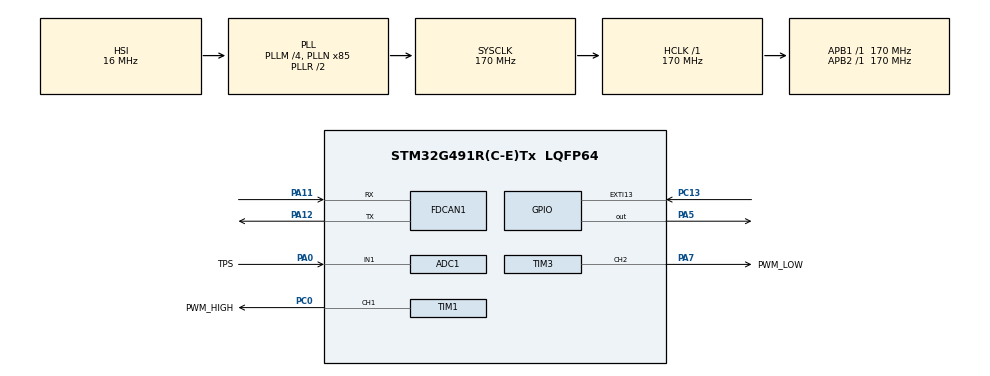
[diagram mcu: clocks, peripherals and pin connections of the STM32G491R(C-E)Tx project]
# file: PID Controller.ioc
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ADC1.Channel-0\#ChannelRegularConversion=ADC_CHANNEL_1
ADC1.ContinuousConvMode=ENABLE
ADC1.DMAContinuousRequests=DISABLE
ADC1.NbrOfConversion=1
ADC1.NbrOfConversionFlag=1
ADC1.OffsetNumber-0\#ChannelRegularConversion=ADC_OFFSET_NONE
ADC1.Rank-0\#ChannelRegularConversion=1
ADC1.SamplingTime-0\#ChannelRegularConversion=ADC_SAMPLETIME_247CYCLES_5
ADC1.master=1
Dma.ADC1.0.Direction=DMA_PERIPH_TO_MEMORY
Dma.ADC1.0.EventEnable=DISABLE
Dma.ADC1.0.Instance=DMA1_Channel1
Dma.ADC1.0.MemDataAlignment=DMA_MDATAALIGN_HALFWORD
Dma.ADC1.0.MemInc=DMA_MINC_ENABLE
Dma.ADC1.0.Mode=DMA_CIRCULAR
Dma.ADC1.0.PeriphDataAlignment=DMA_PDATAALIGN_HALFWORD
Dma.ADC1.0.PeriphInc=DMA_PINC_DISABLE
Dma.ADC1.0.Polarity=HAL_DMAMUX_REQ_GEN_RISING
Dma.ADC1.0.Priority=DMA_PRIORITY_LOW
Dma.ADC1.0.RequestNumber=1
Dma.ADC1.0.SignalID=NONE
Dma.ADC1.0.SyncEnable=DISABLE
Dma.ADC1.0.SyncPolarity=HAL_DMAMUX_SYNC_NO_EVENT
Dma.ADC1.0.SyncRequestNumber=1
Dma.ADC1.0.SyncSignalID=NONE
Dma.Request0=ADC1
FDCAN1.CalculateBaudRateNominal=3541666
FDCAN1.CalculateTimeBitNominal=282
FDCAN1.CalculateTimeQuantumNominal=94.11764705882354
Mcu.Family=STM32G4
Mcu.Name=STM32G491R(C-E)Tx
Mcu.Package=LQFP64
NUCLEO-G491RE.BUTTON=1
NUCLEO-G491RE.LD2=true
NUCLEO-G491RE.VCP=true
NVIC.ADC1_2_IRQn=true\:0\:0\:false\:false\:true\:true\:true\:true
NVIC.DMA1_Channel1_IRQn=true\:0\:0\:false\:false\:true\:false\:true\:true
NVIC.EXTI15_10_IRQn=true\:0\:0\:false\:false\:true\:true\:true\:true
NVIC.FDCAN1_IT0_IRQn=true\:0\:0\:false\:false\:true\:true\:true\:true
NVIC.PriorityGroup=NVIC_PRIORITYGROUP_4
PA0.GPIO_Label=TPS
PA0.Mode=IN1-Single-Ended
PA0.Signal=ADC1_IN1
PA11.Mode=FDCAN_Activate
PA11.Signal=FDCAN1_RX
PA12.Mode=FDCAN_Activate
PA12.Signal=FDCAN1_TX
PA13.GPIO_Label=T_SWDIO
PA13.Signal=SYS_JTMS-SWDIO
PA14.GPIO_Label=T_SWCLK
PA14.Signal=SYS_JTCK-SWCLK
PA2.Signal=LPUART1_TX
PA3.Signal=LPUART1_RX
PA5.Signal=GPIO_Output
PA7.GPIO_Label=PWM_LOW
PA7.Signal=S_TIM3_CH2
PB3.GPIO_Label=T_SWO
PB3.Signal=SYS_JTDO-SWO
PC0.GPIO_Label=PWM_HIGH
PC0.Signal=S_TIM1_CH1
PC13.Signal=GPXTI13
PC14-OSC32_IN.GPIO_Label=RCC_OSC32_IN
PC14-OSC32_IN.Signal=RCC_OSC32_IN
PC15-OSC32_OUT.GPIO_Label=RCC_OSC32_OUT
PC15-OSC32_OUT.Signal=RCC_OSC32_OUT
PF0-OSC_IN.GPIO_Label=RCC_OSC_IN
PF0-OSC_IN.Signal=RCC_OSC_IN
PF1-OSC_OUT.GPIO_Label=RCC_OSC_OUT
PF1-OSC_OUT.Signal=RCC_OSC_OUT
ProjectManager.HeapSize=0x200
ProjectManager.StackSize=0x400
ProjectManager.TargetToolchain=STM32CubeIDE
RCC.ADC12Freq_Value=170000000
RCC.ADC345Freq_Value=170000000
RCC.AHBFreq_Value=170000000
RCC.APB1Freq_Value=170000000
RCC.APB1TimFreq_Value=170000000
RCC.APB2Freq_Value=170000000
RCC.APB2TimFreq_Value=170000000
RCC.CortexFreq_Value=170000000
RCC.EXTERNAL_CLOCK_VALUE=12288000
RCC.HCLKFreq_Value=170000000
RCC.HSE_VALUE=24000000
RCC.HSI48_VALUE=48000000
RCC.HSI_VALUE=16000000
RCC.LSE_VALUE=32768
RCC.PLLM=RCC_PLLM_DIV4
RCC.PLLN=85
RCC.RTCClockSelection=RCC_RTCCLKSOURCE_LSE
RCC.SYSCLKFreq_VALUE=170000000
RCC.SYSCLKSource=RCC_SYSCLKSOURCE_PLLCLK
RCC.USBFreq_Value=48000000
RCC.VCOOutputFreq_Value=340000000
SH.S_TIM1_CH1.0=TIM1_CH1,PWM Generation1 CH1
SH.S_TIM3_CH2.0=TIM3_CH2,PWM Generation2 CH2
TIM1.AutoReloadPreload=TIM_AUTORELOAD_PRELOAD_ENABLE
TIM1.Channel-PWM\ Generation1\ CH1=TIM_CHANNEL_1
TIM1.CounterMode=TIM_COUNTERMODE_UP
TIM1.PeriodNoDither=200-1
TIM1.Prescaler=170-1
TIM2.Prescaler=169
TIM3.AutoReloadPreload=TIM_AUTORELOAD_PRELOAD_ENABLE
TIM3.Channel-PWM\ Generation2\ CH2=TIM_CHANNEL_2
TIM3.PeriodNoDither=200-1
TIM3.Prescaler=170-1
VP_NUCLEO-G491RE_VS_BSP_COMMON.Mode=COMMON
VP_SYS_VS_DBSignals.Mode=DisableDeadBatterySignals
VP_TIM1_VS_ClockSourceINT.Mode=Internal
VP_TIM2_VS_ClockSourceINT.Mode=Internal
VP_TIM3_VS_ClockSourceINT.Mode=Internal
board=NUCLEO-G491RE

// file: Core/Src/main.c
/* USER CODE BEGIN Header */
/**
  ******************************************************************************
  * @file           : main.c
  * @brief          : Main program body
  ******************************************************************************
  * @attention
  *
  * Copyright (c) 2024 STMicroelectronics.
  * All rights reserved.
  *
  * This software is licensed under terms that can be found in the LICENSE file
  * in the root directory of this software component.
  * If no LICENSE file comes with this software, it is provided AS-IS.
  *
  * Info:
  * 		CLK: 170 MHz
  * 		PSC: 170
  *
  * 		Fclk: 170 MHz/ 170 = 1MHz
  * 		Desired frequency: 10 kHz
  * 		ARR: F_CLK / Desired frequency = 1 MHz/ 10kHz = 100 clock cycles
  * 		Duty = Period %: CRR/ARR * 100... TIMM11 ->CCR1 = ....
  *
  *
  ******************************************************************************
  */
/* USER CODE END Header */
#include "main.h"

/* USER CODE BEGIN Includes */
#include <math.h>
#include <stdlib.h>
#include <stdbool.h>
#include <stdio.h>
#include <stdarg.h>
#include "pid.h"
#include "fdcan_queue.h"
#include "fdcan.h"
/* USER CODE END Includes */

/* USER CODE BEGIN PD */
#define MAX_ADC_OUTPUT 0xFFF			// MAX is 4095 = 3V3
#define MAX_DUTY_CYCLE 100.0f
/* USER CODE END PD */

COM_InitTypeDef BspCOMInit;
ADC_HandleTypeDef hadc1;
DMA_HandleTypeDef hdma_adc1;

FDCAN_HandleTypeDef hfdcan1;

TIM_HandleTypeDef htim1;
TIM_HandleTypeDef htim2;
TIM_HandleTypeDef htim3;

/* USER CODE BEGIN PV */
static int32_t set_point = MAX_ADC_OUTPUT;				// Store set point, set in FDCAN ISR
int32_t tps_buffer[1];

static PID_TypeDef pid;
static int32_t pid_out;
#define KP 1.0f
#define KI 1.0f
#define KD 1.0f

// FDCAN Defines
FDCAN_TxHeaderTypeDef   tx_header;
FDCAN_RxHeaderTypeDef   rx_header;
uint8_t               tx_data[8];
uint8_t               rx_data[8];

// Queue to process non-critical tasks
Queue fdcan_queue;

// State variable to keep track of state
uint8_t error_code = 0x00;	// 0 = OK, anything else = error

volatile bool adc_dma_processed = false;

/* USER CODE END PV */

void SystemClock_Config(void);
static void MX_GPIO_Init(void);
static void MX_DMA_Init(void);
static void MX_FDCAN1_Init(void);
static void MX_TIM1_Init(void);
static void MX_ADC1_Init(void);
static void MX_TIM2_Init(void);
static void MX_TIM3_Init(void);
/* USER CODE BEGIN PFP */
static float PID_Controller(uint16_t set_point, uint16_t throttle_position);
static uint8_t handleError(uint8_t code);
static uint8_t handleThrottle(CANMessage* msg);
static uint8_t handleCalibration(void);
static uint8_t handleStatusReport(void);
static void processCANMessage(CANMessage* msg, Command command);
static void myprintf(const char *fmt, ...);
/* USER CODE END PFP */

/* USER CODE BEGIN 0 */
static void myprintf(const char *fmt, ...) {
	static char buffer[256];
	va_list args;
	va_start(args, fmt);
	vsnprintf(buffer, sizeof(buffer), fmt, args);
	va_end(args);

	int len = strlen(buffer);
//	HAL_UART_Transmit(&huart1, (uint8_t*) buffer, len, -1);

}

static void processCANMessage(CANMessage* msg, Command command)
{
	// Execute sent command
	switch(command)
	{
		case shutdown:				// Already handled in ISR - here also to remove warning
			exit(EXIT_SUCCESS);
			break;
		case throttle_percentage:
			if(rx_header.DataLength != DLC_THROTTLE)
				error_code = handleError(GENERIC_ERROR_CODE);
			else
				error_code = handleThrottle(msg);

			break;
		case calibrate:
			if(rx_header.DataLength != DLC_CALIBRATE)
				error_code = handleError(GENERIC_ERROR_CODE);
			else
				error_code = handleCalibration();
			break;
		case status_report:
			if(rx_header.DataLength != DLC_STATUS_REPORT)
				error_code = handleError(GENERIC_ERROR_CODE);
			else
				error_code = handleStatusReport();
			break;
		default:	// Not a valid command, assume error
			error_code = handleError(GENERIC_ERROR_CODE);
			break;
	}
}

/**
 * Determines appropriate response given the error code. All error codes sent to control board master.
 * Currently only 1 error code defined - GENERIC_ERROR_CODE = 0xFF.
 */
static uint8_t handleError(uint8_t code)
{
	// When there is an error determine response
	switch(code)
	{
	case GENERIC_ERROR_CODE: // Set throttle to zero
		// An invalid command was sent, reset set point
		set_point = 0;
		PID_Set_Setpoint(&pid, &set_point);
		break;
	}

	// All codes need to be sent to ETC
	// Send error code - TODO verify error codes
	tx_data[0] = code;
	fdcanWrite(&hfdcan1, tx_header, tx_data, DLC_ERROR, throttle_control_board, from, DEFAULT_ETC_PRIORITY, error);

	// Always return ERROR
	return GENERIC_ERROR_CODE;
}

/**
 * Gets the throttle position percentage from the current message in the queue, calculates the set point,
 * and sets it.
 */
static uint8_t handleThrottle(CANMessage* msg)
{
	// Process received data - Only 1 byte for throttle percentage
	uint8_t throttle_position_percentage = msg->data[0];

	// Get position in terms of ADC levels based on percent.
	set_point = roundf(((float) throttle_position_percentage / MAX_DUTY_CYCLE) * MAX_ADC_OUTPUT);

	// Set PID structure set point from incoming data
	PID_Set_Setpoint(&pid, &set_point);

	return 0;
}

/*
 * Returns battery level of Throttle Control board by sampling with ADC - 0xFF if not implemented
 */
static uint8_t handleStatusReport(void)
{
	// Assuming not implemented for the time being
	tx_data[0] = 0xFF;
	tx_data[1] = 0xFF;
	tx_data[2] = error_code;		// Report any errors

	// Write status report
	return fdcanWrite(&hfdcan1, tx_header, tx_data, DLC_STATUS_REPORT, throttle_control_board, from, DEFAULT_ETC_PRIORITY, status_report);
}

/**
 * Currently not implemented, always return OK
 */
static uint8_t handleCalibration(void)
{
	return 0;
}
/* USER CODE END 0 */

int main(void)
{

  /* MCU Configuration--------------------------------------------------------*/

  /* Reset of all peripherals, Initializes the Flash interface and the Systick. */
  HAL_Init();

  /* Configure the system clock */
  SystemClock_Config();

  /* Initialize all configured peripherals */
  MX_GPIO_Init();
  MX_DMA_Init();
  MX_FDCAN1_Init();
  MX_TIM1_Init();
  MX_ADC1_Init();
  MX_TIM2_Init();
  MX_TIM3_Init();
  /* USER CODE BEGIN 2 */
  // Init canfd instance
  if (fdcanInit(&hfdcan1) != HAL_OK)
	  Error_Handler();

  // Sets up the CANFD filter
  if (fdcanFilterInit(&hfdcan1, &tx_header) != HAL_OK)
	  Error_Handler();

  // Init queue
  queueInit(&fdcan_queue);

  // Init PID structure - tps buffer in terms of adc steps, and so is set_point. pid_out also in terms of adc steps
  PID(&pid, &tps_buffer[0], &pid_out, &set_point, KP, KI, KD, _PID_P_ON_E, _PID_CD_DIRECT);
  PID_SetMode(&pid, _PID_MODE_AUTOMATIC);
  PID_SetSampleTime(&pid, 100);
  PID_SetOutputLimits(&pid, 0, MAX_ADC_OUTPUT);

  /* USER CODE END 2 */

  /* Initialize led */
  BSP_LED_Init(LED_GREEN);

  /* Initialize USER push-button, will be used to trigger an interrupt each time it's pressed.*/
  BSP_PB_Init(BUTTON_USER, BUTTON_MODE_EXTI);

  /* Initialize COM1 port (115200, 8 bits (7-bit data + 1 stop bit), no parity */
  BspCOMInit.BaudRate   = 115200;
  BspCOMInit.WordLength = COM_WORDLENGTH_8B;
  BspCOMInit.StopBits   = COM_STOPBITS_1;
  BspCOMInit.Parity     = COM_PARITY_NONE;
  BspCOMInit.HwFlowCtl  = COM_HWCONTROL_NONE;
  if (BSP_COM_Init(COM1, &BspCOMInit) != BSP_ERROR_NONE)
  {
    Error_Handler();
  }

  /* Infinite loop */
  /* USER CODE BEGIN WHILE */
  while (1)
  {
		set_point = MAX_ADC_OUTPUT;   			// incoming is 50% throttle
		PID_Set_Setpoint(&pid, &set_point);

		static double position_delta = 0.0;

		if(error_code != 0)
		{
			// Shutdown
		    HAL_GPIO_WritePin(GPIOA, GPIO_PIN_4, GPIO_PIN_RESET);
		    HAL_GPIO_WritePin(GPIOB, GPIO_PIN_0, GPIO_PIN_RESET);
		    HAL_TIM_PWM_Stop(&htim1, TIM_CHANNEL_1);
		}

		// While the queue isn't empty, perform command
		if(!isEmpty(&fdcan_queue))
		{
			// Get head element, and extract command
			CANMessage msg = peek(&fdcan_queue);
			Command command = msg.rx_header.Identifier & 0x0F;
			processCANMessage(&msg, command);

			// Remove element
			dequeue(&fdcan_queue);
		}

		// Perform pid only if there is a tps value
		if(!adc_dma_processed)
		{

			// What is the distance to set point? In terms of ADC steps.
			position_delta = set_point - tps_buffer[0];

			// Set point is expected to change very rapidly
			PID_Compute(&pid);

			// Duty variable for PWM output - recall it goes 0 -> 99
			static uint8_t duty_numerical = 0;

			// PWM_HIGH = PC0 = TIM1_CH1
			// PWM_LOW = PA7 = TIM3_CH2
			if (pid_out < 0) {// Set to backward by stopping PC0 and writing duty cycle to PA7

				// Stop PC0
				HAL_TIM_PWM_Stop(&htim1, TIM_CHANNEL_1);

			    // Convert absolute value of pid_out to duty cycle
			    double duty_cycle = ((fabs(pid_out) / MAX_ADC_OUTPUT) * MAX_DUTY_CYCLE);
			    if (duty_cycle > 99) duty_cycle = 99;
			    uint8_t duty_numerical = (uint8_t)duty_cycle;

				// Set duty cycle for PA7
				__HAL_TIM_SET_COMPARE(&htim3, TIM_CHANNEL_2, duty_numerical);

				// Enable output for PA7
				HAL_TIM_PWM_Start(&htim3, TIM_CHANNEL_2);
			} else {// Set forward by writing duty cycle to PC0 and setting PA7 to ground

				// Stop PA7
				HAL_TIM_PWM_Stop(&htim3, TIM_CHANNEL_2);

			    double duty_cycle = ((pid_out/ MAX_ADC_OUTPUT) * MAX_DUTY_CYCLE);
			    if (duty_cycle > 99) duty_cycle = 99;
			    uint8_t duty_numerical = (uint8_t)duty_cycle;

				// Set duty cycle for PC0
				__HAL_TIM_SET_COMPARE(&htim1, TIM_CHANNEL_1, duty_numerical);

				// Enable output for PC0
				HAL_TIM_PWM_Start(&htim1, TIM_CHANNEL_1);
			}
			adc_dma_processed = true;
		}

	  //uint8_t duty_numerical = (uint8_t)((delta / MAX_DUTY_CYCLE) * htim1.Init.Period);
//	  // Ensure it stays within bounds
//	  if (duty_numerical > htim1.Init.Period)
//		  duty_numerical = htim1.Init.Period;
//	  else if (duty_numerical < 0)
//		  duty_numerical = 0;

    /* USER CODE END WHILE */

  }
}

void SystemClock_Config(void)
{
  RCC_OscInitTypeDef RCC_OscInitStruct = {0};
  RCC_ClkInitTypeDef RCC_ClkInitStruct = {0};

  /** Configure the main internal regulator output voltage
  */
  HAL_PWREx_ControlVoltageScaling(PWR_REGULATOR_VOLTAGE_SCALE1_BOOST);

  /** Initializes the RCC Oscillators according to the specified parameters
  * in the RCC_OscInitTypeDef structure.
  */
  RCC_OscInitStruct.OscillatorType = RCC_OSCILLATORTYPE_HSI;
  RCC_OscInitStruct.HSIState = RCC_HSI_ON;
  RCC_OscInitStruct.HSICalibrationValue = RCC_HSICALIBRATION_DEFAULT;
  RCC_OscInitStruct.PLL.PLLState = RCC_PLL_ON;
  RCC_OscInitStruct.PLL.PLLSource = RCC_PLLSOURCE_HSI;
  RCC_OscInitStruct.PLL.PLLM = RCC_PLLM_DIV4;
  RCC_OscInitStruct.PLL.PLLN = 85;
  RCC_OscInitStruct.PLL.PLLP = RCC_PLLP_DIV2;
  RCC_OscInitStruct.PLL.PLLQ = RCC_PLLQ_DIV2;
  RCC_OscInitStruct.PLL.PLLR = RCC_PLLR_DIV2;
  if (HAL_RCC_OscConfig(&RCC_OscInitStruct) != HAL_OK)
  {
    Error_Handler();
  }

  /** Initializes the CPU, AHB and APB buses clocks
  */
  RCC_ClkInitStruct.ClockType = RCC_CLOCKTYPE_HCLK|RCC_CLOCKTYPE_SYSCLK
                              |RCC_CLOCKTYPE_PCLK1|RCC_CLOCKTYPE_PCLK2;
  RCC_ClkInitStruct.SYSCLKSource = RCC_SYSCLKSOURCE_PLLCLK;
  RCC_ClkInitStruct.AHBCLKDivider = RCC_SYSCLK_DIV1;
  RCC_ClkInitStruct.APB1CLKDivider = RCC_HCLK_DIV1;
  RCC_ClkInitStruct.APB2CLKDivider = RCC_HCLK_DIV1;

  if (HAL_RCC_ClockConfig(&RCC_ClkInitStruct, FLASH_LATENCY_4) != HAL_OK)
  {
    Error_Handler();
  }
}

static void MX_ADC1_Init(void)
{

  ADC_MultiModeTypeDef multimode = {0};
  ADC_ChannelConfTypeDef sConfig = {0};

  /** Common config
  */
  hadc1.Instance = ADC1;
  hadc1.Init.ClockPrescaler = ADC_CLOCK_SYNC_PCLK_DIV4;
  hadc1.Init.Resolution = ADC_RESOLUTION_12B;
  hadc1.Init.DataAlign = ADC_DATAALIGN_RIGHT;
  hadc1.Init.GainCompensation = 0;
  hadc1.Init.ScanConvMode = ADC_SCAN_DISABLE;
  hadc1.Init.EOCSelection = ADC_EOC_SINGLE_CONV;
  hadc1.Init.LowPowerAutoWait = DISABLE;
  hadc1.Init.ContinuousConvMode = ENABLE;
  hadc1.Init.NbrOfConversion = 1;
  hadc1.Init.DiscontinuousConvMode = DISABLE;
  hadc1.Init.ExternalTrigConv = ADC_SOFTWARE_START;
  hadc1.Init.ExternalTrigConvEdge = ADC_EXTERNALTRIGCONVEDGE_NONE;
  hadc1.Init.DMAContinuousRequests = DISABLE;
  hadc1.Init.Overrun = ADC_OVR_DATA_PRESERVED;
  hadc1.Init.OversamplingMode = DISABLE;
  if (HAL_ADC_Init(&hadc1) != HAL_OK)
  {
    Error_Handler();
  }

  /** Configure the ADC multi-mode
  */
  multimode.Mode = ADC_MODE_INDEPENDENT;
  if (HAL_ADCEx_MultiModeConfigChannel(&hadc1, &multimode) != HAL_OK)
  {
    Error_Handler();
  }

  /** Configure Regular Channel
  */
  sConfig.Channel = ADC_CHANNEL_1;
  sConfig.Rank = ADC_REGULAR_RANK_1;
  sConfig.SamplingTime = ADC_SAMPLETIME_247CYCLES_5;
  sConfig.SingleDiff = ADC_SINGLE_ENDED;
  sConfig.OffsetNumber = ADC_OFFSET_NONE;
  sConfig.Offset = 0;
  if (HAL_ADC_ConfigChannel(&hadc1, &sConfig) != HAL_OK)
  {
    Error_Handler();
  }
  /* USER CODE BEGIN ADC1_Init 2 */
  HAL_ADC_Start_DMA(&hadc1, (uint32_t*)tps_buffer, 1);

  /* USER CODE END ADC1_Init 2 */

}

static void MX_FDCAN1_Init(void)
{

  /* USER CODE BEGIN FDCAN1_Init 0 */

  // Enable interrupts for CAN reception
  HAL_FDCAN_ActivateNotification(&hfdcan1, FDCAN_IT_RX_FIFO0_NEW_MESSAGE, 0);

  /* USER CODE END FDCAN1_Init 0 */

  hfdcan1.Instance = FDCAN1;
  hfdcan1.Init.ClockDivider = FDCAN_CLOCK_DIV1;
  hfdcan1.Init.FrameFormat = FDCAN_FRAME_CLASSIC;
  hfdcan1.Init.Mode = FDCAN_MODE_NORMAL;
  hfdcan1.Init.AutoRetransmission = DISABLE;
  hfdcan1.Init.TransmitPause = DISABLE;
  hfdcan1.Init.ProtocolException = DISABLE;
  hfdcan1.Init.NominalPrescaler = 16;
  hfdcan1.Init.NominalSyncJumpWidth = 1;
  hfdcan1.Init.NominalTimeSeg1 = 1;
  hfdcan1.Init.NominalTimeSeg2 = 1;
  hfdcan1.Init.DataPrescaler = 1;
  hfdcan1.Init.DataSyncJumpWidth = 1;
  hfdcan1.Init.DataTimeSeg1 = 1;
  hfdcan1.Init.DataTimeSeg2 = 1;
  hfdcan1.Init.StdFiltersNbr = 0;
  hfdcan1.Init.ExtFiltersNbr = 0;
  hfdcan1.Init.TxFifoQueueMode = FDCAN_TX_FIFO_OPERATION;
  if (HAL_FDCAN_Init(&hfdcan1) != HAL_OK)
  {
    Error_Handler();
  }

}

static void MX_TIM1_Init(void)
{

  TIM_ClockConfigTypeDef sClockSourceConfig = {0};
  TIM_MasterConfigTypeDef sMasterConfig = {0};
  TIM_OC_InitTypeDef sConfigOC = {0};
  TIM_BreakDeadTimeConfigTypeDef sBreakDeadTimeConfig = {0};

  htim1.Instance = TIM1;
  htim1.Init.Prescaler = 170-1;
  htim1.Init.CounterMode = TIM_COUNTERMODE_UP;
  htim1.Init.Period = 199;
  htim1.Init.ClockDivision = TIM_CLOCKDIVISION_DIV1;
  htim1.Init.RepetitionCounter = 0;
  htim1.Init.AutoReloadPreload = TIM_AUTORELOAD_PRELOAD_ENABLE;
  if (HAL_TIM_Base_Init(&htim1) != HAL_OK)
  {
    Error_Handler();
  }
  sClockSourceConfig.ClockSource = TIM_CLOCKSOURCE_INTERNAL;
  if (HAL_TIM_ConfigClockSource(&htim1, &sClockSourceConfig) != HAL_OK)
  {
    Error_Handler();
  }
  if (HAL_TIM_PWM_Init(&htim1) != HAL_OK)
  {
    Error_Handler();
  }
  sMasterConfig.MasterOutputTrigger = TIM_TRGO_RESET;
  sMasterConfig.MasterOutputTrigger2 = TIM_TRGO2_RESET;
  sMasterConfig.MasterSlaveMode = TIM_MASTERSLAVEMODE_DISABLE;
  if (HAL_TIMEx_MasterConfigSynchronization(&htim1, &sMasterConfig) != HAL_OK)
  {
    Error_Handler();
  }
  sConfigOC.OCMode = TIM_OCMODE_PWM1;
  sConfigOC.Pulse = 0;
  sConfigOC.OCPolarity = TIM_OCPOLARITY_HIGH;
  sConfigOC.OCNPolarity = TIM_OCNPOLARITY_HIGH;
  sConfigOC.OCFastMode = TIM_OCFAST_DISABLE;
  sConfigOC.OCIdleState = TIM_OCIDLESTATE_RESET;
  sConfigOC.OCNIdleState = TIM_OCNIDLESTATE_RESET;
  if (HAL_TIM_PWM_ConfigChannel(&htim1, &sConfigOC, TIM_CHANNEL_1) != HAL_OK)
  {
    Error_Handler();
  }
  sBreakDeadTimeConfig.OffStateRunMode = TIM_OSSR_DISABLE;
  sBreakDeadTimeConfig.OffStateIDLEMode = TIM_OSSI_DISABLE;
  sBreakDeadTimeConfig.LockLevel = TIM_LOCKLEVEL_OFF;
  sBreakDeadTimeConfig.DeadTime = 0;
  sBreakDeadTimeConfig.BreakState = TIM_BREAK_DISABLE;
  sBreakDeadTimeConfig.BreakPolarity = TIM_BREAKPOLARITY_HIGH;
  sBreakDeadTimeConfig.BreakFilter = 0;
  sBreakDeadTimeConfig.BreakAFMode = TIM_BREAK_AFMODE_INPUT;
  sBreakDeadTimeConfig.Break2State = TIM_BREAK2_DISABLE;
  sBreakDeadTimeConfig.Break2Polarity = TIM_BREAK2POLARITY_HIGH;
  sBreakDeadTimeConfig.Break2Filter = 0;
  sBreakDeadTimeConfig.Break2AFMode = TIM_BREAK_AFMODE_INPUT;
  sBreakDeadTimeConfig.AutomaticOutput = TIM_AUTOMATICOUTPUT_DISABLE;
  if (HAL_TIMEx_ConfigBreakDeadTime(&htim1, &sBreakDeadTimeConfig) != HAL_OK)
  {
    Error_Handler();
  }
  /* USER CODE BEGIN TIM1_Init 2 */
  HAL_TIM_Base_Start(&htim1);
  /* USER CODE END TIM1_Init 2 */
  HAL_TIM_MspPostInit(&htim1);

}

static void MX_TIM2_Init(void)
{

  TIM_ClockConfigTypeDef sClockSourceConfig = {0};
  TIM_MasterConfigTypeDef sMasterConfig = {0};

  htim2.Instance = TIM2;
  htim2.Init.Prescaler = 169;
  htim2.Init.CounterMode = TIM_COUNTERMODE_UP;
  htim2.Init.Period = 4294967295;
  htim2.Init.ClockDivision = TIM_CLOCKDIVISION_DIV1;
  htim2.Init.AutoReloadPreload = TIM_AUTORELOAD_PRELOAD_DISABLE;
  if (HAL_TIM_Base_Init(&htim2) != HAL_OK)
  {
    Error_Handler();
  }
  sClockSourceConfig.ClockSource = TIM_CLOCKSOURCE_INTERNAL;
  if (HAL_TIM_ConfigClockSource(&htim2, &sClockSourceConfig) != HAL_OK)
  {
    Error_Handler();
  }
  sMasterConfig.MasterOutputTrigger = TIM_TRGO_RESET;
  sMasterConfig.MasterSlaveMode = TIM_MASTERSLAVEMODE_DISABLE;
  if (HAL_TIMEx_MasterConfigSynchronization(&htim2, &sMasterConfig) != HAL_OK)
  {
    Error_Handler();
  }
  /* USER CODE BEGIN TIM2_Init 2 */
  HAL_TIM_Base_Start(&htim2);

  /* USER CODE END TIM2_Init 2 */

}

static void MX_TIM3_Init(void)
{

  TIM_ClockConfigTypeDef sClockSourceConfig = {0};
  TIM_MasterConfigTypeDef sMasterConfig = {0};
  TIM_OC_InitTypeDef sConfigOC = {0};

  htim3.Instance = TIM3;
  htim3.Init.Prescaler = 170-1;
  htim3.Init.CounterMode = TIM_COUNTERMODE_UP;
  htim3.Init.Period = 199;
  htim3.Init.ClockDivision = TIM_CLOCKDIVISION_DIV1;
  htim3.Init.AutoReloadPreload = TIM_AUTORELOAD_PRELOAD_ENABLE;
  if (HAL_TIM_Base_Init(&htim3) != HAL_OK)
  {
    Error_Handler();
  }
  sClockSourceConfig.ClockSource = TIM_CLOCKSOURCE_INTERNAL;
  if (HAL_TIM_ConfigClockSource(&htim3, &sClockSourceConfig) != HAL_OK)
  {
    Error_Handler();
  }
  if (HAL_TIM_PWM_Init(&htim3) != HAL_OK)
  {
    Error_Handler();
  }
  sMasterConfig.MasterOutputTrigger = TIM_TRGO_RESET;
  sMasterConfig.MasterSlaveMode = TIM_MASTERSLAVEMODE_DISABLE;
  if (HAL_TIMEx_MasterConfigSynchronization(&htim3, &sMasterConfig) != HAL_OK)
  {
    Error_Handler();
  }
  sConfigOC.OCMode = TIM_OCMODE_PWM1;
  sConfigOC.Pulse = 0;
  sConfigOC.OCPolarity = TIM_OCPOLARITY_HIGH;
  sConfigOC.OCFastMode = TIM_OCFAST_DISABLE;
  if (HAL_TIM_PWM_ConfigChannel(&htim3, &sConfigOC, TIM_CHANNEL_2) != HAL_OK)
  {
    Error_Handler();
  }
  HAL_TIM_MspPostInit(&htim3);

}

static void MX_DMA_Init(void)
{

  /* DMA controller clock enable */
  __HAL_RCC_DMAMUX1_CLK_ENABLE();
  __HAL_RCC_DMA1_CLK_ENABLE();

  /* DMA interrupt init */
  /* DMA1_Channel1_IRQn interrupt configuration */
  HAL_NVIC_SetPriority(DMA1_Channel1_IRQn, 0, 0);
  HAL_NVIC_EnableIRQ(DMA1_Channel1_IRQn);

}

static void MX_GPIO_Init(void)
{

  /* GPIO Ports Clock Enable */
  __HAL_RCC_GPIOC_CLK_ENABLE();
  __HAL_RCC_GPIOF_CLK_ENABLE();
  __HAL_RCC_GPIOA_CLK_ENABLE();
  __HAL_RCC_GPIOB_CLK_ENABLE();

}

/* USER CODE BEGIN 4 */

/* ADC Interrupt handler - To quantize 3.3V throttle position from TPS sensor */
/**
 * @brief ADC conversion complete callback.
 *
 * This function is called when the ADC conversion is complete. It checks if the
 * ADC instance is ADC1, retrieves the 12-bit ADC value from the throttle position
 * sensor (TPS), and restarts the ADC interrupt.
 *
 * @param hadc Pointer to the ADC handle.
 */
void HAL_ADC_ConvCpltCallback(ADC_HandleTypeDef *hadc) {
	if (hadc->Instance == ADC1)
	{
		// Get 12-bit ADC value from TPS sensor. 2^12 - 1 = 4095 max value
		// Reset flag variable
		adc_dma_processed = false;
		HAL_ADC_Start_DMA(&hadc1, (uint32_t*)tps_buffer, 1);
	}
}

/**
 * @brief  Callback function for handling received messages in FDCAN Rx FIFO 0.
 * @param  hfdcan: Pointer to the FDCAN handle.
 * @param  RxFifo0ITs: Interrupt flags for Rx FIFO 0.
 * @retval None
 *
 * This function is called when a new message is received in the FDCAN Rx FIFO 0.
 * It processes the received data, calculates the throttle position percentage,
 * determines the set point in terms of ADC levels, computes the duty cycle percentage
 * using a PID controller, and updates the PWM duty cycle accordingly.
 * At this stage, all messages are filtered to have a direction bit = 0 (To Module)
 *
 * The function performs the following steps:
 * 1. Checks if the FDCAN instance is FDCAN1.
 * 2. Verifies if a new message is received in Rx FIFO 0.
 * 3. Retrieves the received message and processes the data.
 * 4. Calculates the throttle position percentage from the received data.
 * 5. Converts the throttle position percentage to an ADC set point.
 * 6. Computes the duty cycle percentage using the PID controller.
 * 7. Updates the PWM duty cycle based on the computed duty cycle percentage.
 */
void HAL_FDCAN_RxFifo0Callback(FDCAN_HandleTypeDef *hfdcan, uint32_t RxFifo0ITs)
{
  if (hfdcan->Instance == FDCAN1)
  {
    // If we are receiving a CAN signal and its NOT in reset, then get message
    if ((RxFifo0ITs & FDCAN_IT_RX_FIFO0_NEW_MESSAGE) != RESET)
    {
      FDCAN_RxHeaderTypeDef rxHeader; // Struct to place data
      uint8_t rxData[8];              // 8 bit number expressed as a percentage -> 0 - 100%

      // Get Rx messages from RX FIFO0
      if (HAL_FDCAN_GetRxMessage(hfdcan, FDCAN_RX_FIFO0, &rxHeader, rxData) != HAL_OK)
        Error_Handler(); // Reception Error

      // Activate notification again in case HAL deactivates interrupt
      if (HAL_FDCAN_ActivateNotification(hfdcan, FDCAN_IT_RX_FIFO0_NEW_MESSAGE, 0) != HAL_OK)
        Error_Handler(); // Notification Error

      // Extract command
      Command command = (Command)(rx_header.Identifier & 0x0F);

      // Process critical commands
      if (command == shutdown)
        exit(EXIT_SUCCESS);

      // Queue non-critical commands
      CANMessage msg = {rx_header, {0}};

      // Make deep copy of payload
      memcpy(msg.data, rx_data, sizeof(rx_data));

      // Add message to queue
      enqueue(&fdcan_queue, &msg);
    }
  }
}

/**
 * @brief PID Controller function to calculate the PWM duty cycle.
 *
 * This function implements a PID controller to adjust the throttle position
 * based on the given set point. It calculates the error, integral, and
 * derivative terms to compute the PID output, which is then converted to
 * a PWM duty cycle percentage.
 *
 * @param set_point The desired set point value.
 * @param throttle_position The current throttle position value.
 * @return uint8_t The calculated PWM duty cycle percentage (0-100%).
 *
 * The function performs the following steps:
 * 1. Calculates the error between the set point and the throttle position.
 * 2. Updates the integral term by adding the current error.
 * 3. Clamps the integral term to prevent integral windup.
 * 4. Calculates the derivative term based on the change in error.
 * 5. Computes the PID output using the proportional, integral, and derivative terms.
 * 6. Updates the previous error for the next iteration.
 * 7. Converts the PID output to a PWM duty cycle percentage.
 * 8. Clamps the PWM duty cycle to the range of 0-100%.
 */

static float integral_prev = 0.0f;
static uint32_t time_prev = 0;
static int32_t error_prev = 0;

// PID constants - Change for tuning
//static const float KP = 1.0f;
//static const float KI = 0.0f;
//static const float KD = 0.00f;
static const float MICRO_TO_S = 0.000001f;

static float PID_Controller(uint16_t set_point, uint16_t throttle_position) {
	uint32_t current_tick = __HAL_TIM_GET_COUNTER(&htim2);

	// Convert timer ticks into seconds
	// Each tick is 1 microsecond (1e-6 seconds)
	float dt;

	// IF current_tick >= time_prev -> set dt in terms of seconds, ELSE, Handle timer overflow
	dt = (float) (current_tick - time_prev) * MICRO_TO_S; // Convert microseconds to seconds
														  // maybe remove this?

	// Make sure there is no 0 dt
	if (!dt)
		dt = 1;

	int32_t error = ((int32_t) set_point) - ((int32_t) throttle_position);

	// Calculate the integral
	float integral = integral_prev + ((error + error_prev) / 2.0f) * dt;

	float derivative = (error - error_prev) / dt;

	// Prevent integral windup by clamping the integral term
	if (integral > MAX_ADC_OUTPUT) {
		integral = MAX_ADC_OUTPUT;
	} else if (integral < -MAX_ADC_OUTPUT) {
		integral = -MAX_ADC_OUTPUT;
	}

	// Calculate the PID output
	float output = (KP * error) + (KI * integral) + (KD * derivative);

	// Convert the PID output to a PWM duty cycle percentage
	int32_t pwm_delta = (output / MAX_ADC_OUTPUT) * MAX_DUTY_CYCLE;

	integral_prev = integral;
	time_prev = current_tick;
	error_prev = error;

	// Return duty cycle percentage
	return pwm_delta;
}

/* USER CODE END 4 */

void Error_Handler(void)
{
  __disable_irq();
  while (1)
  {
  }
}
